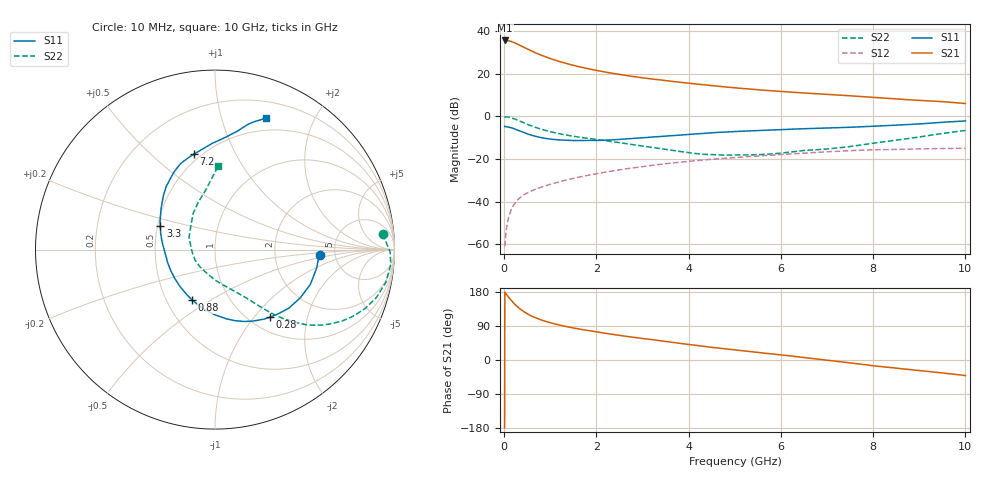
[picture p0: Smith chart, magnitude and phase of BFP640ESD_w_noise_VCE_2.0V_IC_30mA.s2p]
! Infineon Technologies  Discrete & RF Semiconductors
! BFP640ESD
! VCE =  2.0 V,  IC =  30 mA
! Common Emitter S-Parameters:  Jan 2016
# GHz  S  MA  R  50
!  f  S11  S21  S12  S22
! GHz  MAG  ANG  MAG  ANG  MAG  ANG  MAG  ANG
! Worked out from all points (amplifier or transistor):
!   233 points, 10 MHz to 10 GHz, reference 50 ohm
!   highest |S21| = 35.7 dB at 20 MHz (marker M1)
!   |S21| within 3 dB of that: start of sweep to 407.8 MHz
!   unconditionally stable (mu >= 1): 2.585 GHz to 7.494 GHz; 8.372 GHz to 8.437 GHz
!   at 200 MHz: K = 0.25, MSG = 38.4 dB, |S12| = -41.8 dB
!   at 1.74 GHz: K = 0.95, MSG = 25.4 dB, |S12| = -28.0 dB
!   at 10 GHz: K = 0.90, MSG = 10.5 dB, |S12| = -14.9 dB
!   lowest NFmin = 1.09 dB at 450 MHz
!   S11 on the Smith chart (normalised r, x): 10 MHz: 3.77, -0.37; 280 MHz: 1.22, -1.20; 880 MHz: 0.67, -0.42; 3.3 GHz: 0.52, +0.15; 7.2 GHz: 0.46, +0.69; 10 GHz: 0.36, +1.40
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0.01  0.5839 -3.2  61.06 -178.9  0.0009 114.0  0.9381 5.3
0.02  0.5792 -4.4  61.07 177.6  0.001 91.2  0.976 -0.8
0.1  0.5656 -20.1  60.1 165.0  0.0043 82.7  0.9691 -10.9
0.15  0.5456 -29.5  58.02 157.5  0.0063 78.1  0.9381 -16.5
0.2  0.5255 -38.3  55.43 150.8  0.0081 75.3  0.8995 -21.3
0.28  0.4839 -51.1  50.56 141.3  0.0106 71.0  0.83 -27.8
0.34  0.4566 -60.1  47.07 135.1  0.0122 69.1  0.7784 -31.8
0.4  0.4319 -68.0  43.66 129.6  0.0138 67.1  0.7292 -35.2
0.5  0.3927 -80.1  38.56 121.9  0.016 65.3  0.6563 -39.6
0.56  0.3731 -86.1  35.9 118.2  0.0172 64.5  0.6192 -41.4
0.7  0.3383 -100.1  30.64 110.3  0.0199 63.6  0.545 -45.1
0.88  0.3083 -114.3  25.59 102.7  0.0233 63.0  0.4762 -48.3
1.2  0.2818 -135.1  19.53 92.1  0.0293 62.9  0.3924 -52.3
1.68  0.2721 -157.3  14.29 80.6  0.0387 61.9  0.3212 -57.0
2.4  0.2849 179.0  10.11 66.8  0.0538 58.4  0.252 -65.7
3.3  0.3318 156.6  7.382 52.2  0.0733 51.4  0.1821 -84.1
3.4  0.3383 154.5  7.156 50.5  0.0755 50.6  0.1759 -86.8
5.1  0.4482 126.7  4.61 25.3  0.1104 34.7  0.1248 -156.4
6.8  0.5279 107.7  3.405 2.4  0.1439 18.3  0.1663 148.6
7.2  0.5442 102.5  3.206 -3.3  0.1519 13.9  0.181 139.2
8.4  0.6181 86.3  2.621 -20.3  0.1683 -0.2  0.2689 111.8
10  0.7857 68.8  2.018 -41.1  0.1798 -15.8  0.4686 87.7
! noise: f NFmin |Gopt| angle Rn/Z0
0.45  1.09  0.19  -166  0.09
0.9  1.1  0.19  -163  0.09
1.9  1.11  0.23  -136  0.12
2.4  1.13  0.25  -130  0.12
5.5  1.34  0.43  -104  0.18
10  1.91  0.59  -74  0.79
